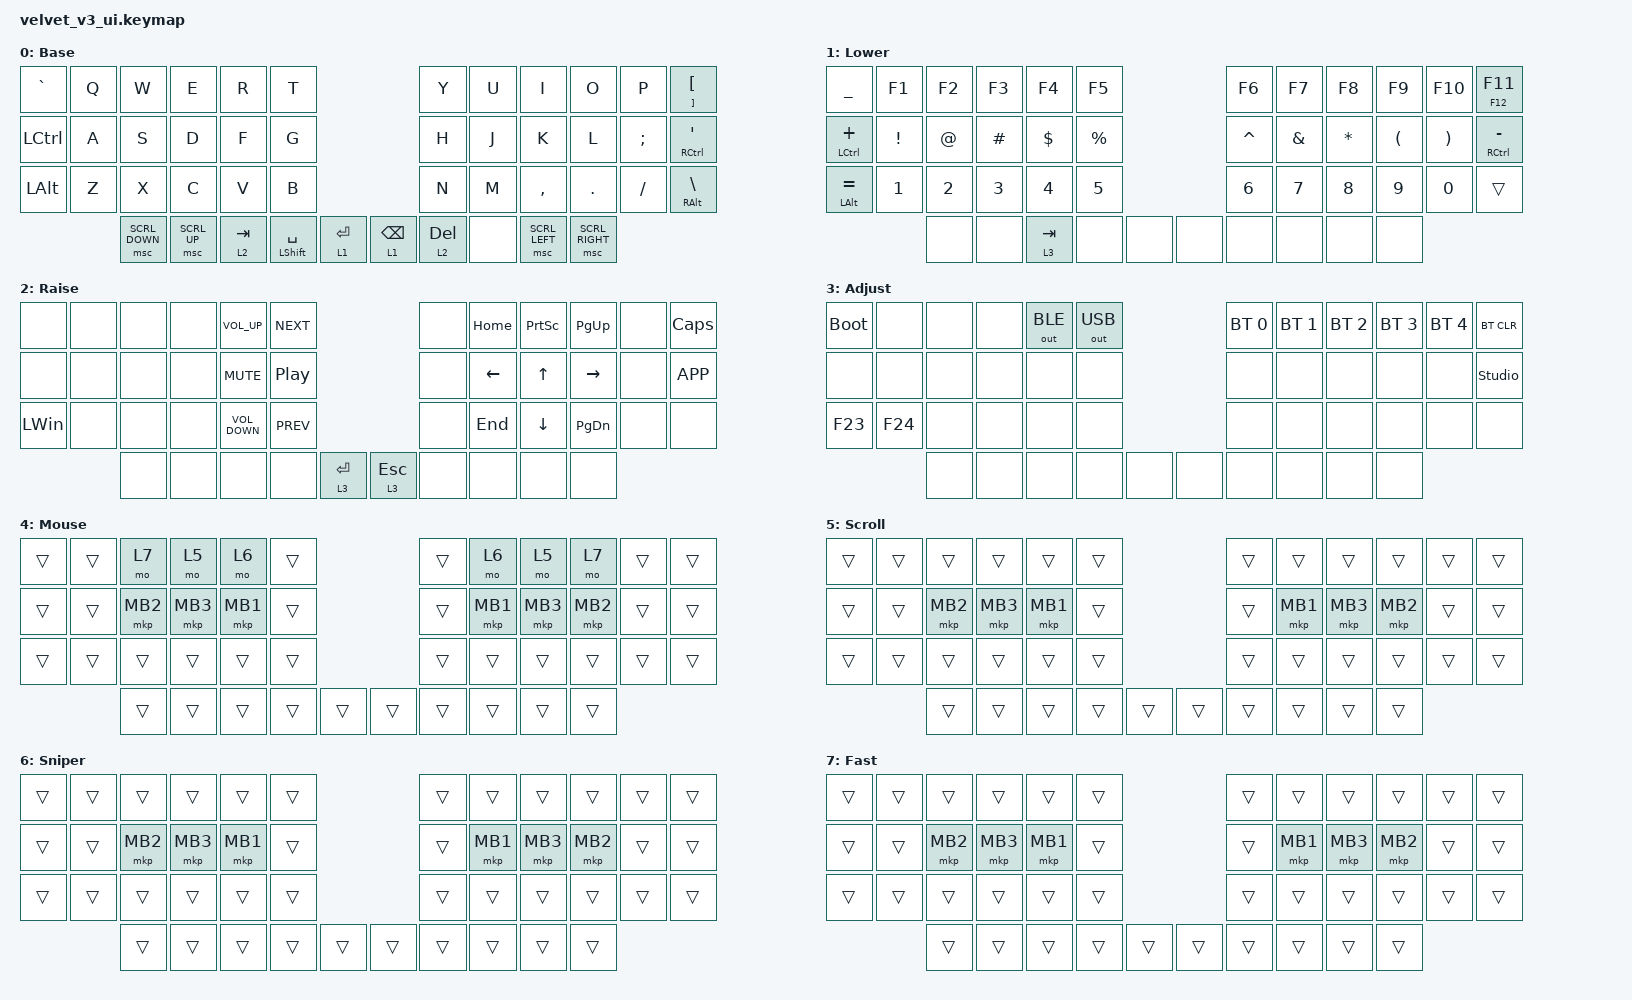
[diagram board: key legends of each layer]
#include "keys_ru.h"
#include <dt-bindings/zmk/input_transform.h>
#include <input/processors.dtsi>
#include <zephyr/dt-bindings/input/input-event-codes.h>
#include <behaviors.dtsi>
#include <dt-bindings/zmk/bt.h>
#include <dt-bindings/zmk/keys.h>
#include <dt-bindings/zmk/outputs.h>
#include <dt-bindings/zmk/pointing.h>

/ {
    behaviors {
        cap_sen: cap_sen {
            compatible = "zmk,behavior-hold-tap";
            label = "CAP_SEN";
            bindings = <&mo>, <&mkp>;

            #binding-cells = <2>;
            tapping-term-ms = <150>;
            hold-while-undecided;
        };

        mouse_layer: mouse_layer {
            compatible = "zmk,behavior-sticky-key";
            label = "MOUSE_LAYER";
            bindings = <&mo>;
            #binding-cells = <1>;
            release-after-ms = <200>;
        };

        zip_auto_mouse: zip_auto_mouse {
            compatible = "zmk,input-processor-temp-layer";
            #input-processor-cells = <2>;
            require-prior-idle-ms = <400>;
            excluded-positions = <>;
        };
    };

    keymap {
        compatible = "zmk,keymap";

        base {
            bindings = <
&kp GRAVE     &kp Q  &kp W           &kp E         &kp R      &kp T                                           &kp Y         &kp U  &kp I           &kp O            &kp P     &mt RIGHT_BRACKET LEFT_BRACKET
&kp LCTRL     &kp A  &kp S           &kp D         &kp F      &kp G                                           &kp H         &kp J  &kp K           &kp L            &kp SEMI  &mt RCTRL SQT
&kp LEFT_ALT  &kp Z  &kp X           &kp C         &kp V      &kp B                                           &kp N         &kp M  &kp COMMA       &kp DOT          &kp FSLH  &mt RALT BSLH
                     &msc SCRL_DOWN  &msc SCRL_UP  &lt 2 TAB  &mt LSHIFT SPACE  &lt 1 RET    &lt 1 BACKSPACE  &lt 2 DELETE  &none  &msc SCRL_LEFT  &msc SCRL_RIGHT
            >;

            display-name = "Base";
        };

        lwr {
            bindings = <
&kp UNDER           &kp F1    &kp F2        &kp F3        &kp F4        &kp F5                        &kp F6     &kp F7    &kp F8    &kp F9    &kp F10   &mt F12 F11
&mt LCTRL PLUS      &kp EXCL  &kp AT        &kp HASH      &kp DLLR      &kp PRCNT                     &kp CARET  &kp AMPS  &kp STAR  &kp LPAR  &kp RPAR  &mt RCTRL MINUS
&mt LEFT_ALT EQUAL  &kp N1    &kp NUMBER_2  &kp NUMBER_3  &kp NUMBER_4  &kp NUMBER_5                  &kp N6     &kp N7    &kp N8    &kp N9    &kp N0    &trans
                              &none         &none         &lt 3 TAB     &none         &none    &none  &none      &none     &none     &none
            >;

            display-name = "Lower";
        };

        RSE {
            bindings = <
&none         &none  &none  &none  &kp C_VOL_UP       &kp C_NEXT                                &none  &kp HOME  &kp PRINTSCREEN  &kp PG_UP        &none  &kp CLCK
&none         &none  &none  &none  &kp C_MUTE         &kp C_PLAY_PAUSE                          &none  &kp LEFT  &kp UP           &kp RIGHT_ARROW  &none  &kp K_APP
&kp LEFT_WIN  &none  &none  &none  &kp C_VOLUME_DOWN  &kp C_PREV                                &none  &kp END   &kp DOWN         &kp PAGE_DOWN    &none  &none
                     &none  &none  &none              &none             &lt 3 RET    &lt 3 ESC  &none  &none     &none            &none
            >;

            display-name = "Raise";
        };

        adj {
            bindings = <
&bootloader  &none  &none  &none  &out OUT_BLE  &out OUT_USB                  &bt BT_SEL 0  &bt BT_SEL 1  &bt BT_SEL 2  &bt BT_SEL 3  &bt BT_SEL 4  &bt BT_CLR
&none        &none  &none  &none  &none         &none                         &none         &none         &none         &none         &none         &studio_unlock
&kp F23      &kp F24  &none  &none  &none         &none                         &none         &none         &none         &none         &none         &none
                    &none  &none  &none         &none         &none    &none  &none         &none         &none         &none
            >;

            display-name = "Adjust";
        };

        mouse {
            bindings = <
&trans  &trans  &mo 7     &mo 5     &mo 6     &trans                    &trans  &mo 6     &mo 5     &mo 7     &trans  &trans
&trans  &trans  &mkp MB2  &mkp MB3  &mkp MB1  &trans                    &trans  &mkp MB1  &mkp MB3  &mkp MB2  &trans  &trans
&trans  &trans  &trans    &trans    &trans    &trans                    &trans  &trans    &trans    &trans    &trans  &trans
                &trans    &trans    &trans    &trans  &trans    &trans  &trans  &trans    &trans    &trans
            >;

            display-name = "Mouse";
        };

        scroll {
            bindings = <
&trans  &trans  &trans    &trans    &trans    &trans                    &trans  &trans    &trans    &trans    &trans  &trans
&trans  &trans  &mkp MB2  &mkp MB3  &mkp MB1  &trans                    &trans  &mkp MB1  &mkp MB3  &mkp MB2  &trans  &trans
&trans  &trans  &trans    &trans    &trans    &trans                    &trans  &trans    &trans    &trans    &trans  &trans
                &trans    &trans    &trans    &trans  &trans    &trans  &trans  &trans    &trans    &trans
            >;

            display-name = "Scroll";
        };

        sniper {
            bindings = <
&trans  &trans  &trans    &trans    &trans    &trans                    &trans  &trans    &trans    &trans    &trans  &trans
&trans  &trans  &mkp MB2  &mkp MB3  &mkp MB1  &trans                    &trans  &mkp MB1  &mkp MB3  &mkp MB2  &trans  &trans
&trans  &trans  &trans    &trans    &trans    &trans                    &trans  &trans    &trans    &trans    &trans  &trans
                &trans    &trans    &trans    &trans  &trans    &trans  &trans  &trans    &trans    &trans
            >;

            display-name = "Sniper";
        };

        fast {
            bindings = <
&trans  &trans  &trans    &trans    &trans    &trans                    &trans  &trans    &trans    &trans    &trans  &trans
&trans  &trans  &mkp MB2  &mkp MB3  &mkp MB1  &trans                    &trans  &mkp MB1  &mkp MB3  &mkp MB2  &trans  &trans
&trans  &trans  &trans    &trans    &trans    &trans                    &trans  &trans    &trans    &trans    &trans  &trans
                &trans    &trans    &trans    &trans  &trans    &trans  &trans  &trans    &trans    &trans
            >;

            display-name = "Fast";
        };

    };
};

&trackball { cpi = <1000>; };

&trackball_listener {
    input-processors = <&zip_auto_mouse 4 400>, <&zip_xy_scaler 1 5>;

    scroller {
        layers = <5>;
        input-processors =
            <&zip_xy_transform INPUT_TRANSFORM_Y_INVERT>,
            <&zip_xy_scaler 1 45>,
            <&zip_xy_to_scroll_mapper>;
    };

    sniper {
        layers = <6>;
        input-processors = <&zip_xy_scaler 1 16>;
    };

    fast {
        layers = <7>;
        input-processors = <&zip_xy_scaler 4 5>;
    };
};
